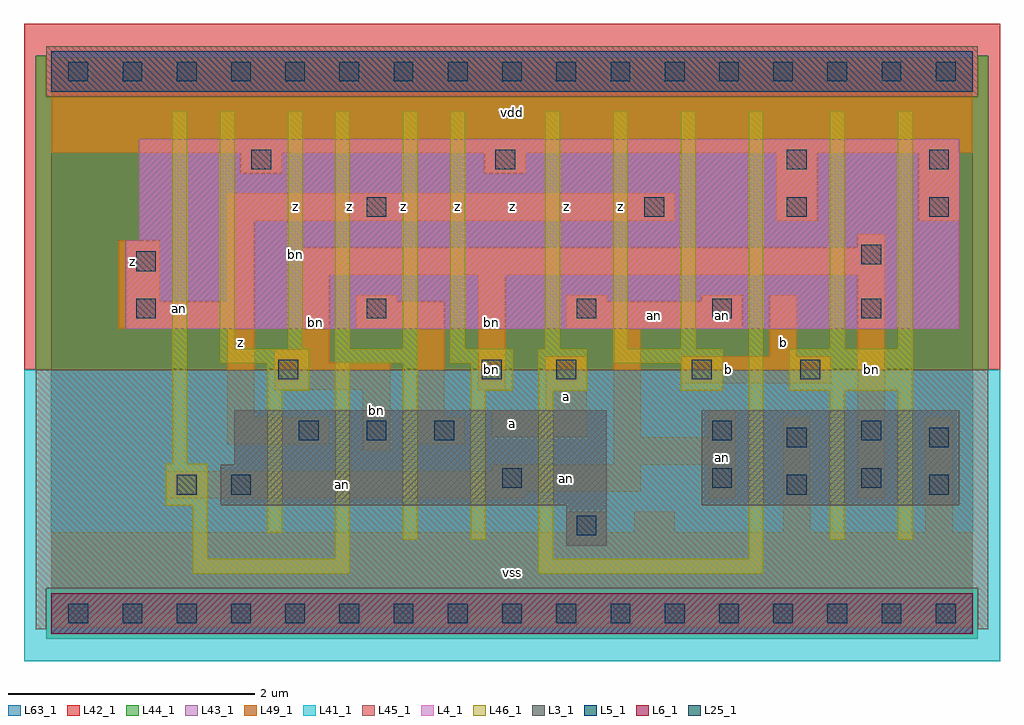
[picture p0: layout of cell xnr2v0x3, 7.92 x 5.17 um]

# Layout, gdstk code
import gdstk
lib = gdstk.Library(unit=1e-6, precision=1e-09)
def R(c, l, rs):  # rectangles x0, y0, x1, y1
    for r in rs: c.add(gdstk.rectangle(r[:2], r[2:], *l))
def A(c, l, x, y, w, h, nx, ny, dx, dy):  # array of equal rectangles
    R(c, l, [(x+i*dx, y+j*dy, x+i*dx+w, y+j*dy+h) for i in range(nx) for j in range(ny)])
L3_1 = (3, 1)
L4_1 = (4, 1)
L5_1 = (5, 1)
L6_1 = (6, 1)
L25_1 = (25, 1)
L41_1 = (41, 1)
L42_1 = (42, 1)
L43_1 = (43, 1)
L44_1 = (44, 1)
L45_1 = (45, 1)
L46_1 = (46, 1)
L49_1 = (49, 1)
L63_1 = (63, 1)

xnr2v0x3 = lib.new_cell('xnr2v0x3')
R(xnr2v0x3, L3_1, [(4.18,0.55,4.51,0.88), (1.375,0.88,4.51,1.21), (5.28,0.88,7.37,1.65), (1.485,1.21,4.51,1.65)])
R(xnr2v0x3, L4_1, [(0.605,2.31,7.37,3.025), (0.715,3.025,7.37,3.85)])
R(xnr2v0x3, L5_1, [(0,4.235,7.48,4.565)])
R(xnr2v0x3, L6_1, [(0,-0.165,7.48,0.165)])
A(xnr2v0x3, L25_1, 0.14, -0.08, 0.16, 0.16, 17, 2, 0.44, 4.4)
A(xnr2v0x3, L25_1, 2.01, 1.405, 0.16, 0.16, 3, 1, 0.55, 0)
A(xnr2v0x3, L25_1, 4.815, 3.22, 0.16, 0.16, 3, 1, 1.155, 0)
R(xnr2v0x3, L25_1, [(4.265,0.635,4.425,0.795), (1.02,0.965,1.18,1.125), (1.46,0.965,1.62,1.125), (5.97,0.965,6.13,1.125), (7.125,0.965,7.285,1.125), (3.66,1.02,3.82,1.18), (5.365,1.02,5.525,1.18), (6.575,1.02,6.735,1.18), (5.97,1.35,6.13,1.51), (7.125,1.35,7.285,1.51), (5.365,1.405,5.525,1.565), (6.575,1.405,6.735,1.565), (1.845,1.9,2.005,2.06), (3.495,1.9,3.655,2.06), (4.1,1.9,4.26,2.06), (5.2,1.9,5.36,2.06), (6.08,1.9,6.24,2.06), (0.69,2.395,0.85,2.555), (2.56,2.395,2.72,2.555), (4.265,2.395,4.425,2.555), (5.365,2.395,5.525,2.555), (6.575,2.395,6.735,2.555), (0.69,2.78,0.85,2.94), (6.575,2.835,6.735,2.995), (2.56,3.22,2.72,3.38), (1.625,3.605,1.785,3.765), (3.605,3.605,3.765,3.765), (5.97,3.605,6.13,3.765), (7.125,3.605,7.285,3.765)])
R(xnr2v0x3, L41_1, [(-0.22,-0.385,7.7,1.98)])
R(xnr2v0x3, L42_1, [(-0.22,1.98,7.7,4.785)])
R(xnr2v0x3, L43_1, [(0,-0.165,7.48,0.165), (4.18,0.55,4.51,0.88), (1.375,0.88,4.51,1.21), (5.28,0.88,7.37,1.65), (1.485,1.21,4.51,1.65), (0.605,2.31,7.37,3.025), (0.715,3.025,7.37,3.85), (0,4.235,7.48,4.565)])
R(xnr2v0x3, L44_1, [(-0.04,-0.205,7.52,0.205), (-0.125,1.98,7.605,4.195), (-0.125,4.195,-0.04,4.525), (7.52,4.195,7.605,4.525)])
R(xnr2v0x3, L45_1, [(-0.125,-0.125,-0.04,0.205), (7.52,-0.125,7.605,0.205), (-0.125,0.205,7.605,1.98), (-0.04,4.195,7.52,4.605)])
A(xnr2v0x3, L46_1, 4.01, 2.15, 0.12, 1.925, 3, 1, 0.55, 0)
R(xnr2v0x3, L46_1, [(1.15,0.325,2.425,0.445), (3.955,0.325,5.78,0.445), (1.15,0.445,1.27,0.875), (2.305,0.445,2.425,2.03), (3.955,0.445,4.075,1.81), (5.66,0.445,5.78,4.075), (2.855,0.6,2.975,2.03), (3.405,0.6,3.525,1.81), (6.32,0.6,6.44,1.81), (6.87,0.6,6.99,1.81), (1.755,0.655,1.875,1.81), (0.93,0.875,1.27,1.215), (0.985,1.215,1.105,4.075), (1.755,1.81,2.095,2.03), (3.405,1.81,3.745,2.03), (3.955,1.81,4.35,2.15), (5.11,1.81,5.45,2.03), (5.99,1.81,6.99,2.15), (1.37,2.03,2.095,2.15), (2.305,2.03,2.975,2.15), (3.24,2.03,3.745,2.15), (4.56,2.03,5.45,2.15), (1.37,2.15,1.49,4.075), (1.92,2.15,2.04,4.075), (2.305,2.15,2.425,4.075), (2.855,2.15,2.975,4.075), (3.24,2.15,3.36,4.075), (6.32,2.15,6.44,4.075), (6.87,2.15,6.99,4.075)])
R(xnr2v0x3, L49_1, [(0,-0.11,7.48,0.66), (4.18,0.66,4.51,0.825), (4.73,0.66,5.06,0.825), (5.94,0.66,6.16,1.595), (7.095,0.66,7.315,1.595), (0.935,0.935,3.85,0.99), (5.335,0.935,5.555,1.21), (6.545,0.935,6.765,2.75), (0.935,0.99,4.785,1.155), (3.575,1.155,4.785,1.21), (4.565,1.21,5.555,1.43), (2.53,1.32,2.75,1.815), (1.43,1.375,2.255,1.595), (2.97,1.375,3.355,1.595), (3.575,1.43,4.345,1.65), (4.565,1.43,4.785,2.31), (5.335,1.43,5.555,1.65), (1.43,1.595,1.65,2.31), (2.97,1.595,3.19,2.31), (4.015,1.65,4.345,2.09), (1.815,1.815,2.75,2.035), (3.465,1.815,3.685,2.75), (5.115,1.87,6.325,2.09), (1.815,2.035,2.255,2.145), (5.83,2.09,6.05,2.585), (2.035,2.145,2.255,2.75), (0.55,2.31,1.65,2.53), (2.475,2.31,3.19,2.53), (4.18,2.31,5.61,2.53), (0.55,2.53,0.88,3.025), (1.43,2.53,1.65,3.19), (2.475,2.53,2.805,2.585), (4.18,2.53,4.51,2.585), (5.28,2.53,5.61,2.585), (2.035,2.75,6.765,2.97), (6.545,2.97,6.765,3.08), (1.43,3.19,5.06,3.41), (5.885,3.19,6.215,3.74), (7.04,3.19,7.37,3.74), (1.54,3.575,1.87,3.74), (3.52,3.575,3.85,3.74), (0,3.74,7.48,4.51)])
R(xnr2v0x3, L63_1, [(0,0,7.48,4.4)])
xnr2v0x3.add(gdstk.Label('an', (1.045,2.475), layer=46, texttype=1))
xnr2v0x3.add(gdstk.Label('bn', (1.98,2.915), layer=46, texttype=1))
xnr2v0x3.add(gdstk.Label('bn', (3.575,1.98), layer=49, texttype=1))
xnr2v0x3.add(gdstk.Label('z', (1.1,2.42), layer=49, texttype=1))
xnr2v0x3.add(gdstk.Label('z', (0.66,2.86), layer=49, texttype=1))
xnr2v0x3.add(gdstk.Label('bn', (2.64,1.65), layer=49, texttype=1))
xnr2v0x3.add(gdstk.Label('z', (1.54,2.2), layer=49, texttype=1))
xnr2v0x3.add(gdstk.Label('bn', (2.145,2.365), layer=49, texttype=1))
xnr2v0x3.add(gdstk.Label('z', (1.98,3.3), layer=49, texttype=1))
xnr2v0x3.add(gdstk.Label('z', (2.42,3.3), layer=49, texttype=1))
xnr2v0x3.add(gdstk.Label('vss', (3.74,0.33), layer=49, texttype=1))
xnr2v0x3.add(gdstk.Label('an', (2.365,1.045), layer=49, texttype=1))
xnr2v0x3.add(gdstk.Label('a', (3.74,1.54), layer=49, texttype=1))
xnr2v0x3.add(gdstk.Label('a', (4.18,1.76), layer=49, texttype=1))
xnr2v0x3.add(gdstk.Label('bn', (3.575,2.365), layer=49, texttype=1))
xnr2v0x3.add(gdstk.Label('z', (2.86,3.3), layer=49, texttype=1))
xnr2v0x3.add(gdstk.Label('z', (3.74,3.3), layer=49, texttype=1))
xnr2v0x3.add(gdstk.Label('z', (4.18,3.3), layer=49, texttype=1))
xnr2v0x3.add(gdstk.Label('z', (3.3,3.3), layer=49, texttype=1))
xnr2v0x3.add(gdstk.Label('vdd', (3.74,4.07), layer=49, texttype=1))
xnr2v0x3.add(gdstk.Label('an', (4.18,1.1), layer=49, texttype=1))
xnr2v0x3.add(gdstk.Label('an', (5.445,1.265), layer=49, texttype=1))
xnr2v0x3.add(gdstk.Label('an', (4.895,2.42), layer=49, texttype=1))
xnr2v0x3.add(gdstk.Label('an', (5.445,2.42), layer=49, texttype=1))
xnr2v0x3.add(gdstk.Label('b', (5.94,2.2), layer=49, texttype=1))
xnr2v0x3.add(gdstk.Label('b', (5.5,1.98), layer=49, texttype=1))
xnr2v0x3.add(gdstk.Label('z', (4.62,3.3), layer=49, texttype=1))
xnr2v0x3.add(gdstk.Label('bn', (6.655,1.98), layer=49, texttype=1))

lib.write_gds('xnr2v0x3.gds')
